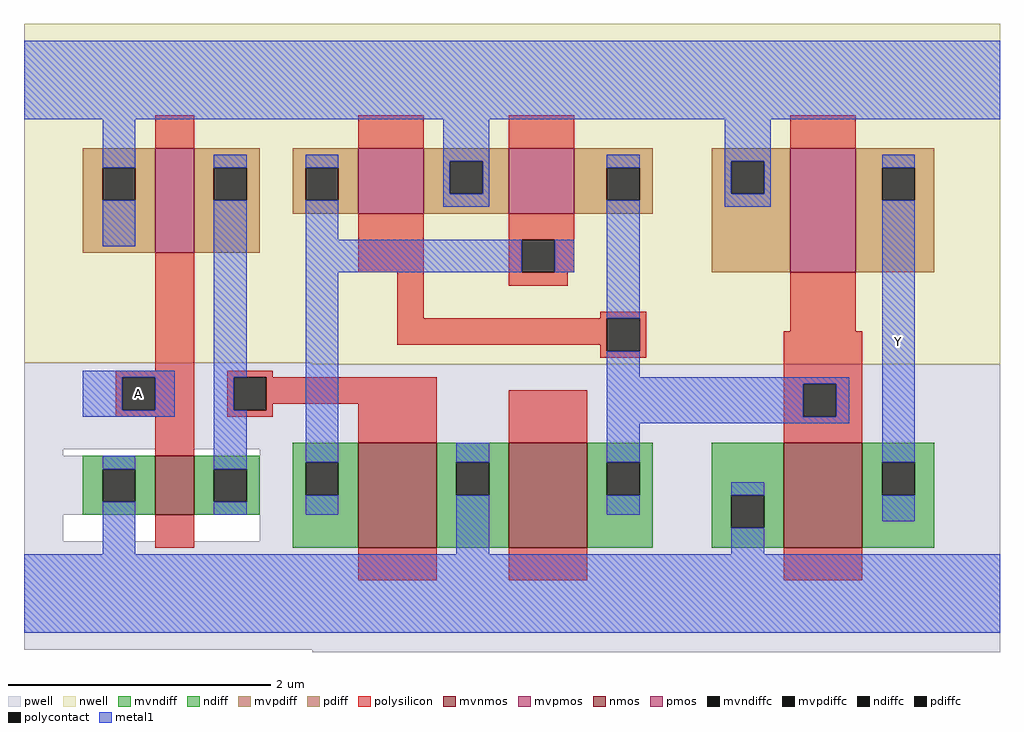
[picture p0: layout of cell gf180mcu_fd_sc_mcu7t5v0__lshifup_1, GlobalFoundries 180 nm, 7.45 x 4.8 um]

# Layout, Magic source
magic
tech gf180mcuD
magscale 1 10
<< nwell >>
rect 420 342 1910 860
rect 860 340 1910 342
<< pwell >>
rect 420 340 860 342
rect 420 210 1910 340
rect 420 200 480 210
rect 620 200 680 210
rect 710 200 760 210
rect 780 200 1910 210
rect 420 110 1910 200
rect 420 70 480 110
rect 540 70 590 110
rect 620 70 680 110
rect 780 70 1910 110
rect 420 -96 1910 70
rect 860 -100 1910 -96
<< nmos >>
rect 620 110 680 200
<< pmos >>
rect 620 510 680 670
<< mvnmos >>
rect 930 60 1050 220
rect 1160 60 1280 220
rect 1580 60 1700 220
<< mvpmos >>
rect 930 570 1030 670
rect 1160 570 1260 670
rect 1590 480 1690 670
<< ndiff >>
rect 510 180 620 200
rect 510 130 540 180
rect 590 130 620 180
rect 510 110 620 130
rect 680 180 780 200
rect 680 130 710 180
rect 760 130 780 180
rect 680 110 780 130
<< pdiff >>
rect 510 640 620 670
rect 510 590 540 640
rect 590 590 620 640
rect 510 510 620 590
rect 680 640 780 670
rect 680 590 710 640
rect 760 590 780 640
rect 680 510 780 590
<< mvndiff >>
rect 830 190 930 220
rect 830 140 850 190
rect 900 140 930 190
rect 830 60 930 140
rect 1050 190 1160 220
rect 1050 140 1080 190
rect 1130 140 1160 190
rect 1050 60 1160 140
rect 1280 190 1380 220
rect 1280 140 1310 190
rect 1360 140 1380 190
rect 1280 60 1380 140
rect 1470 140 1580 220
rect 1470 90 1500 140
rect 1550 90 1580 140
rect 1470 60 1580 90
rect 1700 190 1810 220
rect 1700 140 1730 190
rect 1780 140 1810 190
rect 1700 60 1810 140
<< mvpdiff >>
rect 830 640 930 670
rect 830 590 850 640
rect 900 590 930 640
rect 830 570 930 590
rect 1030 650 1160 670
rect 1030 600 1070 650
rect 1120 600 1160 650
rect 1030 570 1160 600
rect 1260 640 1380 670
rect 1260 590 1310 640
rect 1360 590 1380 640
rect 1260 570 1380 590
rect 1470 650 1590 670
rect 1470 600 1500 650
rect 1550 600 1590 650
rect 1470 480 1590 600
rect 1690 640 1810 670
rect 1690 590 1730 640
rect 1780 590 1810 640
rect 1690 480 1810 590
<< ndiffc >>
rect 540 130 590 180
rect 710 130 760 180
<< pdiffc >>
rect 540 590 590 640
rect 710 590 760 640
<< mvndiffc >>
rect 850 140 900 190
rect 1080 140 1130 190
rect 1310 140 1360 190
rect 1500 90 1550 140
rect 1730 140 1780 190
<< mvpdiffc >>
rect 850 590 900 640
rect 1070 600 1120 650
rect 1310 590 1360 640
rect 1500 600 1550 650
rect 1730 590 1780 640
<< polysilicon >>
rect 620 670 680 720
rect 930 670 1030 720
rect 1160 670 1260 720
rect 1590 670 1690 720
rect 620 330 680 510
rect 930 480 1030 570
rect 990 410 1030 480
rect 1160 530 1260 570
rect 1160 480 1180 530
rect 1230 480 1260 530
rect 1160 460 1250 480
rect 1300 410 1370 420
rect 990 370 1310 410
rect 1300 360 1310 370
rect 1360 360 1370 410
rect 1590 390 1690 480
rect 1300 350 1370 360
rect 560 320 680 330
rect 560 270 570 320
rect 620 270 680 320
rect 560 260 680 270
rect 730 320 800 330
rect 730 270 740 320
rect 790 280 1050 320
rect 1580 310 1700 390
rect 790 270 800 280
rect 730 260 800 270
rect 620 200 680 260
rect 930 220 1050 280
rect 1160 220 1280 300
rect 1580 260 1610 310
rect 1660 260 1700 310
rect 1580 220 1700 260
rect 620 60 680 110
rect 930 10 1050 60
rect 1160 10 1280 60
rect 1580 10 1700 60
<< polycontact >>
rect 1180 480 1230 530
rect 1310 360 1360 410
rect 570 270 620 320
rect 740 270 790 320
rect 1610 260 1660 310
<< metal1 >>
rect 420 714 1910 834
rect 540 640 590 714
rect 540 520 590 590
rect 710 640 760 660
rect 510 320 650 330
rect 510 270 570 320
rect 620 270 650 320
rect 510 260 650 270
rect 710 320 760 590
rect 850 640 900 660
rect 850 530 900 590
rect 1060 650 1130 714
rect 1060 600 1070 650
rect 1120 600 1130 650
rect 1060 580 1130 600
rect 1310 640 1360 660
rect 850 480 1180 530
rect 1230 480 1260 530
rect 710 270 740 320
rect 540 180 590 200
rect 540 50 590 130
rect 710 180 760 270
rect 710 110 760 130
rect 850 190 900 480
rect 1310 410 1360 590
rect 1490 650 1560 714
rect 1490 600 1500 650
rect 1550 600 1560 650
rect 1490 580 1560 600
rect 1730 640 1780 660
rect 1310 320 1360 360
rect 1310 310 1680 320
rect 1310 260 1610 310
rect 1660 260 1680 310
rect 1310 250 1680 260
rect 850 110 900 140
rect 1080 190 1130 220
rect 1080 50 1130 140
rect 1310 190 1360 250
rect 1730 190 1780 590
rect 1310 110 1360 140
rect 1500 140 1550 160
rect 1730 100 1780 140
rect 1500 50 1550 90
rect 420 -70 1910 50
<< labels >>
rlabel metal1 1730 350 1780 400 1 Y
rlabel polycontact 570 270 620 320 1 A
<< properties >>
string FIXED_BBOX -10 -10 774 774
<< end >>
